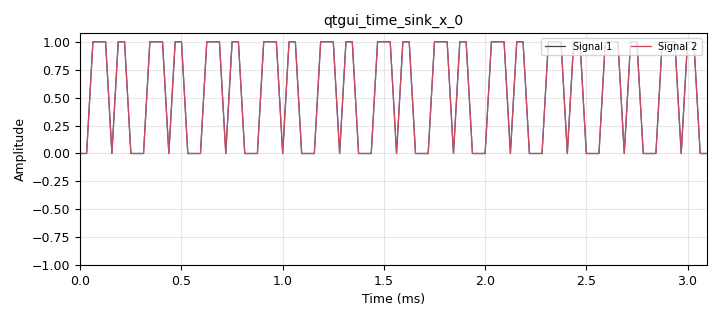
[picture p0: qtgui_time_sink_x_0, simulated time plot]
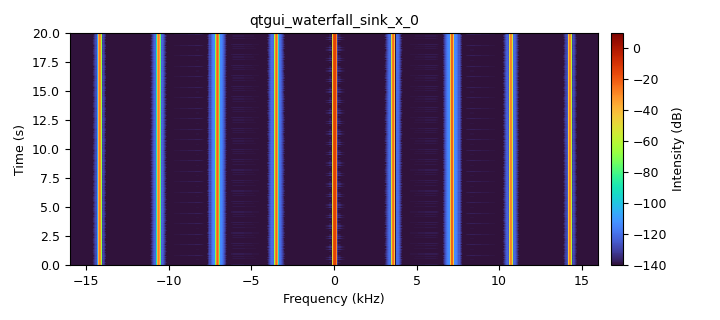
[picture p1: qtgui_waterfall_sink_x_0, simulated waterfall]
options:
  parameters:
    author: reedyje
    generate_options: qt_gui
    id: DeMod
    output_language: python
    title: GFSK Mod DeMod
  states: {}

blocks:
- name: delay
  id: variable_qtgui_range
  parameters:
    start: '0'
    step: '1'
    stop: '100'
    value: '0'
  states: {}
- name: samp_rate
  id: variable
  parameters:
    value: '32000'
  states: {}
- name: blocks_delay_0
  id: blocks_delay
  parameters:
    delay: delay
    type: float
  states: {}
- name: blocks_file_sink_0
  id: blocks_file_sink
  parameters:
    file: /home/erika/Desktop/3UCubed/GFSK_demod.bin
    type: byte
  states: {}
- name: blocks_stream_to_tagged_stream_0
  id: blocks_stream_to_tagged_stream
  parameters:
    len_tag_key: '"packet_len"'
    packet_len: '9'
    type: byte
  states: {}
- name: blocks_throttle2_0
  id: blocks_throttle2
  parameters:
    samples_per_second: samp_rate
    type: byte
  states: {}
- name: blocks_uchar_to_float_0
  id: blocks_uchar_to_float
  parameters: {}
  states: {}
- name: blocks_uchar_to_float_1
  id: blocks_uchar_to_float
  parameters: {}
  states: {}
- name: blocks_vector_source_x_0
  id: blocks_vector_source_x
  parameters:
    repeat: 'True'
    type: byte
    vector: (0,0,0,1,1,1,0,1,1)
  states: {}
- name: digital_gfsk_demod_0
  id: digital_gfsk_demod
  parameters:
    freq_error: '0.0'
    gain_mu: '0.175'
    mu: '0.5'
    omega_relative_limit: '0.005'
    samples_per_symbol: '2'
    sensitivity: '1.0'
  states: {}
- name: digital_gfsk_mod_0
  id: digital_gfsk_mod
  parameters:
    bt: '0.35'
    do_unpack: 'False'
    samples_per_symbol: '2'
    sensitivity: '1.0'
  states: {}
- name: qtgui_time_sink_x_0
  id: qtgui_time_sink_x
  parameters:
    nconnections: '2'
    size: '100'
    srate: samp_rate
    type: float
  states: {}
- name: qtgui_waterfall_sink_x_0
  id: qtgui_waterfall_sink_x
  parameters:
    bw: samp_rate
    fc: '0'
    fftsize: '1024'
    type: float
  states: {}

connections:
- [blocks_delay_0, '0', qtgui_time_sink_x_0, '1']
- [blocks_stream_to_tagged_stream_0, '0', blocks_throttle2_0, '0']
- [blocks_stream_to_tagged_stream_0, '0', blocks_uchar_to_float_0, '0']
- [blocks_throttle2_0, '0', digital_gfsk_mod_0, '0']
- [blocks_uchar_to_float_0, '0', blocks_delay_0, '0']
- [blocks_uchar_to_float_1, '0', qtgui_time_sink_x_0, '0']
- [blocks_uchar_to_float_1, '0', qtgui_waterfall_sink_x_0, '0']
- [blocks_vector_source_x_0, '0', blocks_stream_to_tagged_stream_0, '0']
- [digital_gfsk_demod_0, '0', blocks_file_sink_0, '0']
- [digital_gfsk_demod_0, '0', blocks_uchar_to_float_1, '0']
- [digital_gfsk_mod_0, '0', digital_gfsk_demod_0, '0']

metadata:
  file_format: 1
  grc_version: 3.10.9.2
